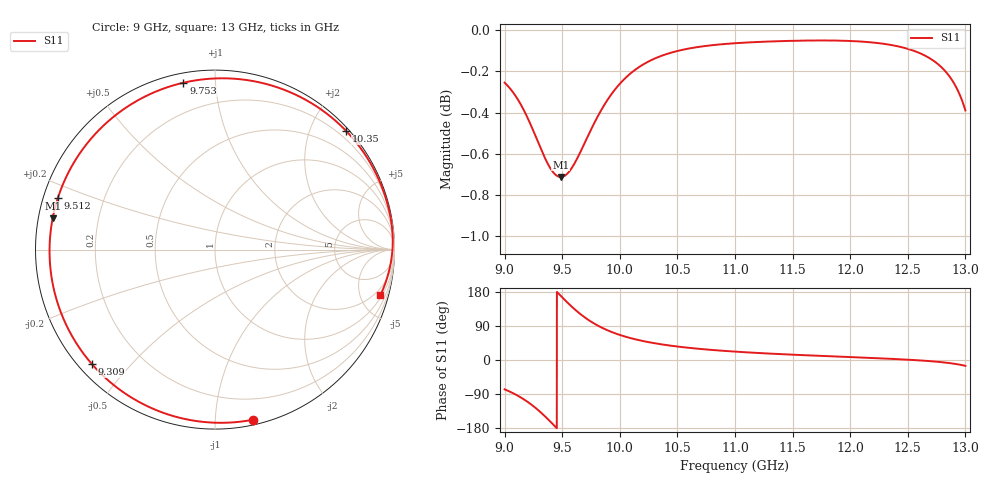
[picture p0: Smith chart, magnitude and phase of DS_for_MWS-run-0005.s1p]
! TOUCHSTONE file generated by CST DESIGN STUDIO
! Date and time: Tue Feb  4 15:57:21 2025
! Project name: C:\Work\MatlabApps\UnitCellOptimizationMatlab\CST\unitcell.cst
! Tree item: Tasks\Sweep1\SPara1\S-Parameters
! Header version: 2024
! Port assignment regex: !\s*Touchstone port\s*([0-9]+)\s*=\s*(CST MWS port|CST DES external port|CST DES block port)\s*(.+)\s* \(\"(.*)\"\)(\s*mode\s*([0-9]+))?.*
! Touchstone port assignment:
! Touchstone port 1 = CST DES external port 1 ("")
# GHz S MA R 50
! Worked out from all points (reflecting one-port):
!   4001 points, 9 GHz to 13 GHz, reference 50 ohm
!   lowest |S11| = -0.7 dB at 9.488 GHz (marker M1), VSWR 24.37, Z = 2.07 + j4.77 ohm
!   phase of S11 starts at -77 deg and turns -298 deg over the sweep
!   S11 on the Smith chart (normalised r, x): 9 GHz: 0.04, -1.25; 9.309 GHz: 0.04, -0.39; 9.512 GHz: 0.04, +0.16; 9.753 GHz: 0.05, +0.83; 10.35 GHz: 0.06, +2.60; 13 GHz: 1.21, -7.19
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9  0.9711 -77.4
9.077  0.9656 -88.1
9.175  0.9553 -105.4
9.244  0.9461 -120.4
9.309  0.9367 -136.9
9.36  0.9298 -151.4
9.404  0.9251 -164.7
9.446  0.9221 -177.8
9.488  0.9212 169.1
9.5  0.9212 165.4
9.512  0.9215 161.7
9.573  0.925 143.6
9.63  0.9308 128.1
9.689  0.9381 114.0
9.753  0.9463 100.7
9.809  0.953 90.8
9.874  0.96 81.0
10  0.9705 66.1
10.157  0.9792 53.0
10.347  0.9855 42.0
10.5  0.9885 35.5
10.722  0.9911 28.5
11  0.9928 22.1
11.5  0.9941 14.0
12  0.994 7.7
12.5  0.9897 0.8
12.796  0.9793 -5.8
13  0.9562 -15.4
